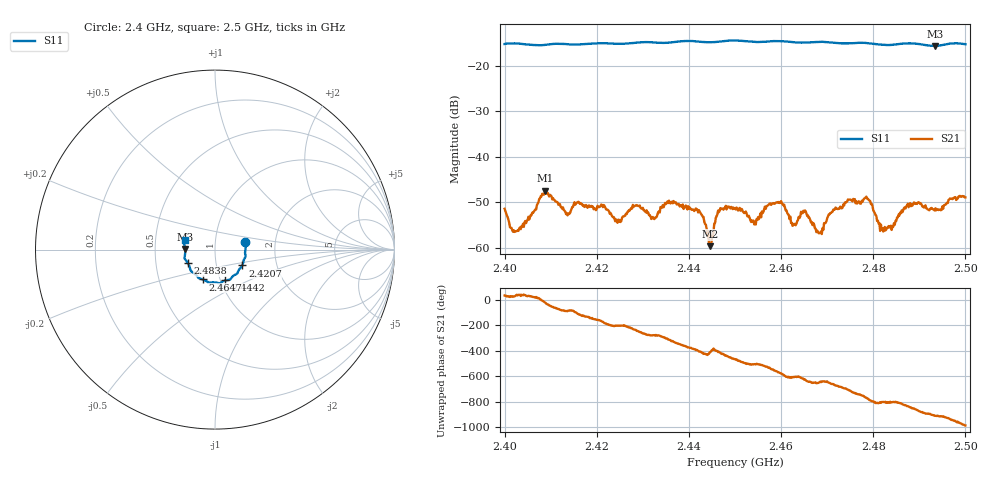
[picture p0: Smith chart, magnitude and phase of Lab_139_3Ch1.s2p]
# Hz S RI R 50
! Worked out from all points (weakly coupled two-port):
!   601 points, 2.4 GHz to 2.5 GHz, reference 50 ohm
!   highest |S21| = -47.44 dB at 2.4088 GHz (marker M1); lowest = -59.6 dB at 2.4447 GHz (marker M2)
!   lowest |S11| = -15.6 dB at 2.4935 GHz (marker M3), VSWR 1.40, Z = 35.8 + j0.144 ohm
!   |S11| at or under -10 dB: start of sweep to end of sweep
!   S12 and S22 are empty: the file has one direction only
!   S11 on the Smith chart (normalised r, x): 2.4 GHz: 1.40, +0.12; 2.4207 GHz: 1.34, -0.24; 2.4442 GHz: 1.06, -0.37; 2.4647 GHz: 0.83, -0.29; 2.4838 GHz: 0.73, -0.11; 2.5 GHz: 0.71, +0.07
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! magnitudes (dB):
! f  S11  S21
! 2.4 GHz  -15.2  -51.4
! 2.4027 GHz  -15.1  -56.3
! 2.4088 GHz  -15.4  -47.4
! 2.4137 GHz  -15.3  -52.8
! 2.4167 GHz  -15.3  -50.4
! 2.4207 GHz  -15.1  -51.0
! 2.4248 GHz  -15.2  -54.3
! 2.4333 GHz  -15.0  -52.1
! 2.4418 GHz  -14.7  -51.5
! 2.4442 GHz  -14.8  -56.3
! 2.4447 GHz  -14.8  -59.6
! 2.4467 GHz  -14.7  -51.8
! 2.45 GHz  -14.4  -51.4
! 2.4647 GHz  -14.9  -52.4
! 2.4667 GHz  -14.8  -54.3
! 2.4687 GHz  -14.8  -56.3
! 2.4785 GHz  -15.0  -48.7
! 2.4833 GHz  -15.5  -55.2
! 2.4838 GHz  -15.4  -55.1
! 2.4878 GHz  -15.1  -50.6
! 2.4935 GHz  -15.6  -51.3
! 2.5 GHz  -15.3  -48.9
